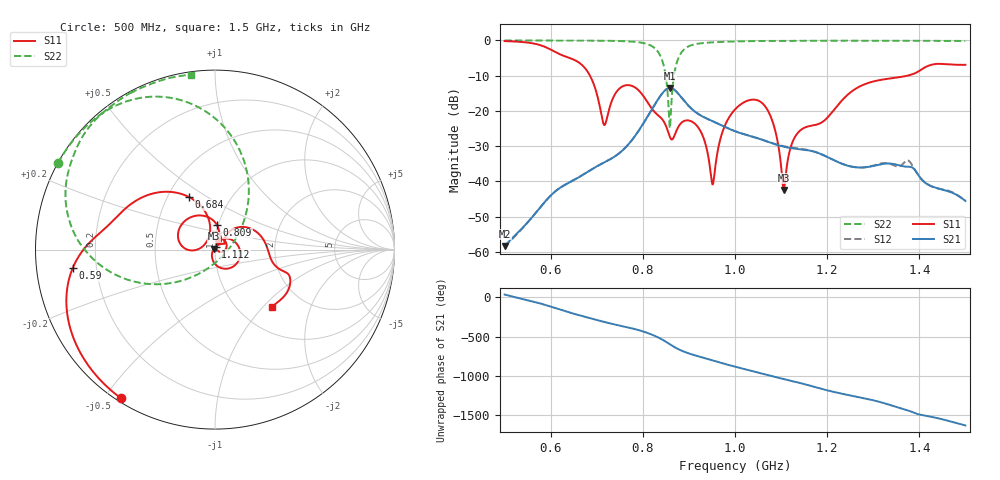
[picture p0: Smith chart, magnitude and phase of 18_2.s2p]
! TOUCHSTONE file generated by CST MICROWAVE STUDIO
! Date and time: Wed Oct 28 19:36:53 2020
! Project name: Scenario_1_Circular_Tissue_out_of_Line_v2.cst
! Parameters = {dy1=-51.9; L_HA=400; MT=2.54; Rad_Dielectric=30; Rad_Lower=7.3; Rad_Upper=30; a_HA=580; a_WG=246; b_HA=500; b_WG=121; c_HA=0; c_WG=187; d_feed=85; dx1=346; h_feed=15; h_lower=18; h_upper=40}
! Header version: 2018
! Port assignment regex: !\s*Touchstone port\s*([0-9]+)\s*=\s*(CST MWS port|CST DS port)\s*([0-9]+|Zmin|Zmax)\s*\(\"(.*)\"\)(\s*mode\s*([0-9]+))?.*
! Touchstone port assignment:
! Touchstone port 1 = CST MWS port 1 ("")
! Touchstone port 2 = CST MWS port 2 ("")
# GHz S DB R 50
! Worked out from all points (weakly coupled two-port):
!   1003 points, 500 MHz to 1.5 GHz, reference 50 ohm
!   highest |S21| = -13.46 dB at 859 MHz (marker M1); lowest = -58.3 dB at 500 MHz (marker M2)
!   lowest |S11| = -42.4 dB at 1.106 GHz (marker M3), VSWR 1.02, Z = 49.4 + j0.446 ohm
!   |S11| at or under -10 dB: 685.3 MHz to 1.374 GHz (688.6 MHz wide, 66.9 % of centre)
!   |S22| runs from -24.9 to 0.0 dB; largest |S21 - S12| = 0.004
!   S11 on the Smith chart (normalised r, x): 500 MHz: 0.01, -0.55; 590 MHz: 0.11, -0.06; 684 MHz: 0.64, +0.42; 809 MHz: 0.99, +0.27; 1.112 GHz: 1.01, +0.03; 1.5 GHz: 1.39, -1.13
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0.5  -0.18 -122.3  -58.30 32.8  -58.34 32.7  -0.01 151.1
0.59  -1.95 -172.7  -45.40 -101.8  -45.39 -101.8  -0.02 144.9
0.667  -6.85 135.7  -38.33 122.7  -38.33 122.7  -0.04 138.3
0.684  -9.69 116.4  -36.96 95.8  -36.96 95.7  -0.05 136.6
0.716  -23.97 140.3  -34.61 45.4  -34.61 45.5  -0.08 132.8
0.756  -13.02 157.4  -31.17 -8.9  -31.17 -8.9  -0.19 126.2
0.809  -17.27 85.3  -21.85 -91.7  -21.87 -91.5  -1.00 107.7
0.834  -21.31 70.9  -16.51 -153.1  -16.51 -153.1  -3.42 84.8
0.859  -27.42 58.5  -13.46 121.3  -13.46 121.2  -24.90 -59.0
0.883  -23.44 67.5  -16.07 43.8  -16.07 43.8  -3.54 -174.1
0.924  -25.45 -6.2  -21.15 -36.7  -21.15 -36.7  -0.83 155.8
0.952  -40.81 30.2  -22.93 -84.1  -22.94 -84.1  -0.53 148.0
0.972  -26.26 68.3  -24.14 -117.6  -24.14 -117.6  -0.41 144.3
1  -19.58 32.7  -25.74 -161.4  -25.75 -161.5  -0.28 140.2
1.067  -18.98 -68.7  -28.53 96.6  -28.50 96.9  -0.15 132.7
1.088  -25.94 -108.1  -29.48 66.2  -29.40 66.9  -0.13 130.7
1.106  -42.42 143.4  -30.14 41.2  -30.00 42.0  -0.12 129.1
1.112  -36.14 79.2  -30.31 32.9  -30.16 33.7  -0.12 128.6
1.131  -27.18 44.4  -30.70 6.2  -30.53 6.7  -0.12 127.0
1.167  -24.15 31.4  -31.38 -49.3  -31.33 -49.3  -0.10 124.2
1.334  -10.82 4.2  -34.89 77.0  -34.89 77.1  -0.09 111.4
1.5  -6.91 -45.5  -45.51 172.9  -45.46 173.5  -0.14 97.9
